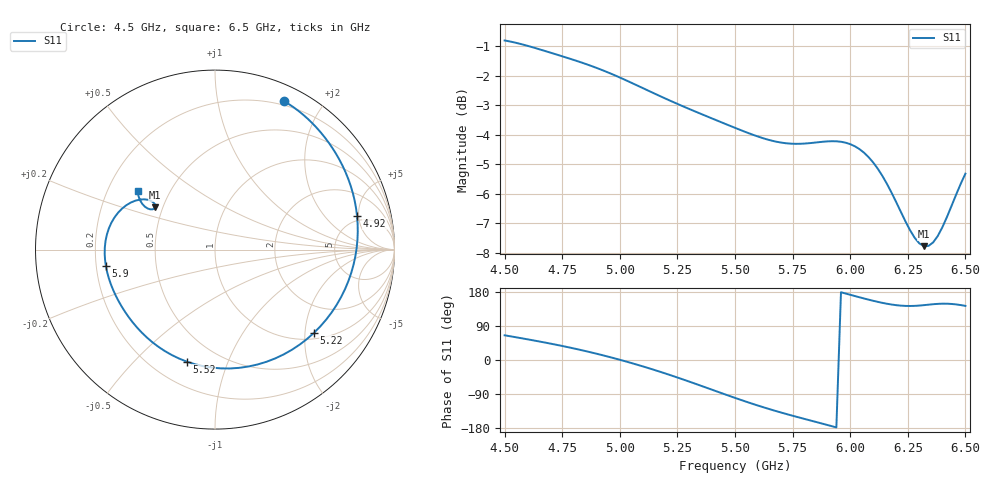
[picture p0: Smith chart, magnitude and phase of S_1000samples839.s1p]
! TOUCHSTONE file generated by CST MICROWAVE STUDIO
! Date and time: Sat Oct 29 13:46:12 2022
! Project name: L.cst
! Parameters = {Di=1.27; Epsilon_r=1.56; InnerDiameter=1.27; Length=2; Lf=10; Lg=60; OuterConductorThickness=0.2921; OuterDiameter=3.6; Wf=3; Wp=41.2; de=1.5; df=6.8; g=0.8; gx=2.21881; gy=0.523997; h=2.34; hf=1.524; px=9.93591; py=9.83715; w=9.7; wx=7.7171; wy=9.31315}
! Header version: 2018
! Port assignment regex: !\s*Touchstone port\s*([0-9]+)\s*=\s*(CST MWS port|CST DS port)\s*([0-9]+|Zmin|Zmax)\s*\(\"(.*)\"\)(\s*mode\s*([0-9]+))?.*
! Touchstone port assignment:
! Touchstone port 1 = CST MWS port 1 ("")
# GHz S DB R 50
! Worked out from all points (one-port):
!   101 points, 4.5 GHz to 6.5 GHz, reference 50 ohm
!   lowest |S11| = -7.8 dB at 6.32 GHz (marker M1), VSWR 2.38, Z = 22.7 + j12.9 ohm
!   |S11| at or under -10 dB: nowhere
!   S11 on the Smith chart (normalised r, x): 4.5 GHz: 0.16, +1.55; 4.92 GHz: 4.28, +4.77; 5.22 GHz: 1.16, -2.23; 5.52 GHz: 0.34, -0.72; 5.9 GHz: 0.24, -0.07; 6.5 GHz: 0.33, +0.30
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4.5  -0.80 65.1
4.62  -1.03 52.3
4.76  -1.36 35.8
4.84  -1.56 25.1
4.92  -1.79 13.4
5  -2.06 0.6
5.1  -2.42 -16.9
5.16  -2.63 -28.2
5.22  -2.85 -40.1
5.26  -2.99 -48.3
5.32  -3.19 -61.0
5.38  -3.38 -74.0
5.44  -3.57 -87.1
5.5  -3.76 -99.9
5.52  -3.83 -104.2
5.58  -4.01 -116.4
5.64  -4.16 -127.9
5.76  -4.31 -148.7
5.9  -4.23 -171.4
6  -4.32 172.1
6.08  -4.76 159.2
6.14  -5.40 150.8
6.2  -6.29 144.7
6.26  -7.24 142.5
6.32  -7.78 144.8
6.36  -7.66 147.2
6.42  -6.79 148.5
6.5  -5.32 142.8
